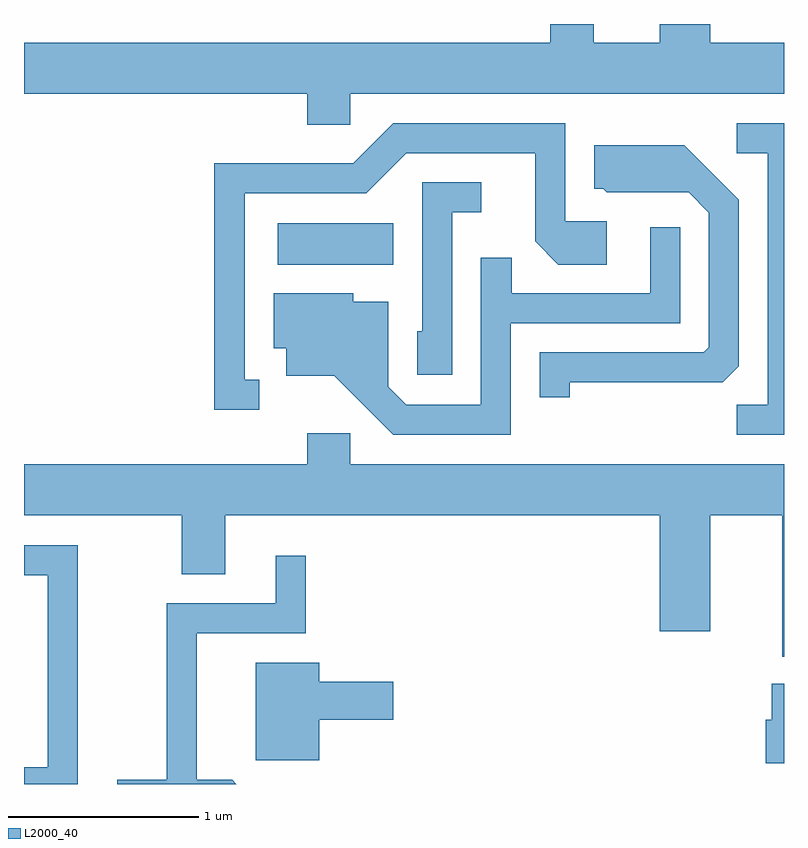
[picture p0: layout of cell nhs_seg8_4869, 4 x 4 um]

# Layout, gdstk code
import gdstk
lib = gdstk.Library(unit=1e-6, precision=1e-09)
def R(c, l, rs):  # rectangles x0, y0, x1, y1
    for r in rs: c.add(gdstk.rectangle(r[:2], r[2:], *l))
def P(c, l, *ps):  # polygons
    for p in ps: c.add(gdstk.Polygon(p, *l))
L2000_40 = (2000, 40)

nhs_seg8_4869 = lib.new_cell('nhs_seg8_4869')
R(nhs_seg8_4869, L2000_40, [(332.946,1831.076,333.554,1831.294)])
P(nhs_seg8_4869, L2000_40, [(333.329,1831.976),(335.611,1831.976),(335.611,1832.244),(335.224,1832.244),(335.224,1832.342),(334.956,1832.342),(334.956,1832.244),(334.609,1832.244),(334.609,1832.342),(334.381,1832.342),(334.381,1832.244),(331.611,1832.244),(331.611,1831.976),(333.101,1831.976),(333.101,1831.811),(333.329,1831.811)],
  [(332.848,1830.469),(332.774,1830.469),(332.774,1831.451),(333.412,1831.451),(333.622,1831.661),(334.301,1831.661),(334.301,1831.199),(334.424,1831.076),(334.679,1831.076),(334.679,1831.304),(334.459,1831.304),(334.459,1831.819),(333.554,1831.819),(333.344,1831.609),(332.611,1831.609),(332.611,1830.311),(332.848,1830.311)],
  [(335.611,1831.819),(335.363,1831.819),(335.363,1831.661),(335.526,1831.661),(335.526,1830.339),(335.363,1830.339),(335.363,1830.181),(335.611,1830.181)],
  [(334.484,1830.456),(335.289,1830.456),(335.374,1830.542),(335.374,1831.417),(335.087,1831.704),(334.611,1831.704),(334.611,1831.476),(334.659,1831.476),(334.679,1831.456),(335.109,1831.456),(335.216,1831.349),(335.216,1830.642),(335.189,1830.614),(334.326,1830.614),(334.326,1830.378),(334.484,1830.378)],
  [(333.864,1831.351),(334.018,1831.351),(334.018,1831.509),(333.706,1831.509),(333.706,1830.724),(333.681,1830.724),(333.681,1830.496),(333.864,1830.496)],
  [(334.174,1830.766),(335.064,1830.766),(335.064,1831.273),(334.906,1831.273),(334.906,1830.924),(334.179,1830.924),(334.179,1831.113),(334.016,1831.113),(334.016,1830.339),(333.622,1830.339),(333.529,1830.432),(333.529,1830.879),(333.344,1830.879),(333.344,1830.924),(332.926,1830.924),(332.926,1830.636),(332.991,1830.636),(332.991,1830.491),(333.244,1830.491),(333.554,1830.181),(334.174,1830.181)],
  [(335.611,1830.024),(333.329,1830.024),(333.329,1830.189),(333.101,1830.189),(333.101,1830.024),(331.611,1830.024),(331.611,1829.756),(332.441,1829.756),(332.441,1829.446),(332.669,1829.446),(332.669,1829.756),(334.956,1829.756),(334.956,1829.146),(335.224,1829.146),(335.224,1829.756),(335.601,1829.756),(335.601,1829.013),(335.611,1829.013)],
  [(331.894,1829.599),(331.611,1829.599),(331.611,1829.441),(331.736,1829.441),(331.736,1828.429),(331.611,1828.429),(331.611,1828.342),(331.894,1828.342)],
  [(332.707,1828.364),(332.519,1828.364),(332.519,1829.136),(333.094,1829.136),(333.094,1829.543),(332.936,1829.543),(332.936,1829.294),(332.361,1829.294),(332.361,1828.364),(332.101,1828.364),(332.101,1828.342),(332.729,1828.342)],
  [(333.164,1828.681),(333.554,1828.681),(333.554,1828.879),(333.164,1828.879),(333.164,1828.979),(332.831,1828.979),(332.831,1828.466),(333.164,1828.466)],
  [(335.611,1828.869),(335.546,1828.869),(335.546,1828.679),(335.516,1828.679),(335.516,1828.451),(335.611,1828.451)])

lib.write_gds('nhs_seg8_4869.gds')
